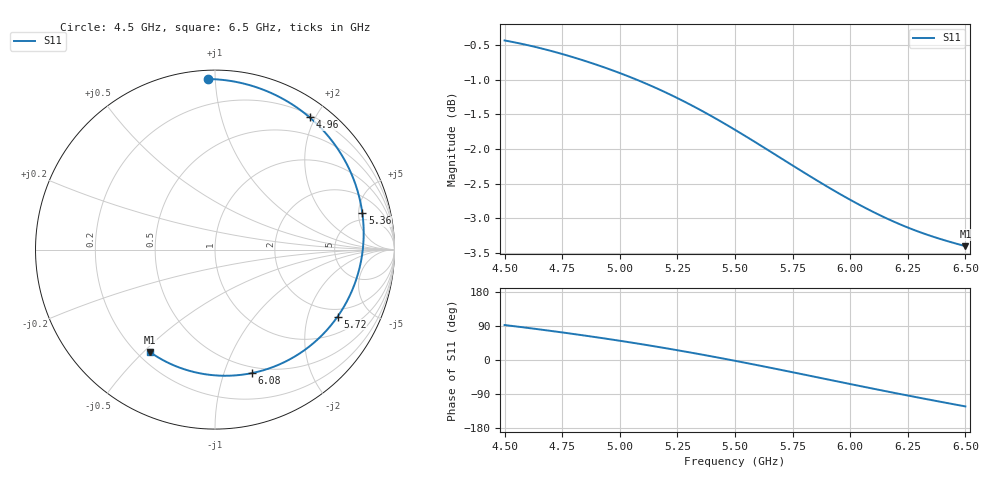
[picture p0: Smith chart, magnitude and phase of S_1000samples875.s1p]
! TOUCHSTONE file generated by CST MICROWAVE STUDIO
! Date and time: Sat Oct 29 16:14:07 2022
! Project name: L.cst
! Parameters = {Di=1.27; Epsilon_r=1.56; InnerDiameter=1.27; Length=2; Lf=10; Lg=60; OuterConductorThickness=0.2921; OuterDiameter=3.6; Wf=3; Wp=41.2; de=1.5; df=6.8; g=0.8; gx=3.51923; gy=3.62881; h=2.34; hf=1.524; px=11.4043; py=11.7755; w=9.7; wx=7.88505; wy=8.14673}
! Header version: 2018
! Port assignment regex: !\s*Touchstone port\s*([0-9]+)\s*=\s*(CST MWS port|CST DS port)\s*([0-9]+|Zmin|Zmax)\s*\(\"(.*)\"\)(\s*mode\s*([0-9]+))?.*
! Touchstone port assignment:
! Touchstone port 1 = CST MWS port 1 ("")
# GHz S DB R 50
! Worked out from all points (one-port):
!   101 points, 4.5 GHz to 6.5 GHz, reference 50 ohm
!   lowest |S11| = -3.4 dB at 6.5 GHz (marker M1), VSWR 5.17, Z = 12.4 - j26.1 ohm
!   |S11| at or under -10 dB: nowhere
!   S11 on the Smith chart (normalised r, x): 4.5 GHz: 0.05, +0.96; 4.96 GHz: 0.23, +1.92; 5.36 GHz: 3.90, +5.54; 5.72 GHz: 1.65, -3.12; 6.08 GHz: 0.44, -1.25; 6.5 GHz: 0.25, -0.52
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4.5  -0.44 92.3
4.58  -0.49 86.3
4.64  -0.53 81.6
4.76  -0.64 71.9
4.86  -0.74 63.4
4.96  -0.86 54.5
5  -0.91 50.8
5.06  -0.98 45.0
5.14  -1.10 37.2
5.2  -1.19 31.0
5.26  -1.28 24.7
5.36  -1.46 13.9
5.44  -1.61 4.8
5.5  -1.72 -2.1
5.6  -1.93 -14.0
5.66  -2.05 -21.3
5.72  -2.18 -28.6
5.76  -2.26 -33.6
5.82  -2.38 -41.0
5.88  -2.50 -48.5
5.94  -2.62 -56.0
6  -2.73 -63.4
6.08  -2.87 -73.3
6.16  -3.00 -83.0
6.26  -3.15 -94.9
6.32  -3.22 -101.9
6.38  -3.29 -108.9
6.5  -3.40 -122.5
